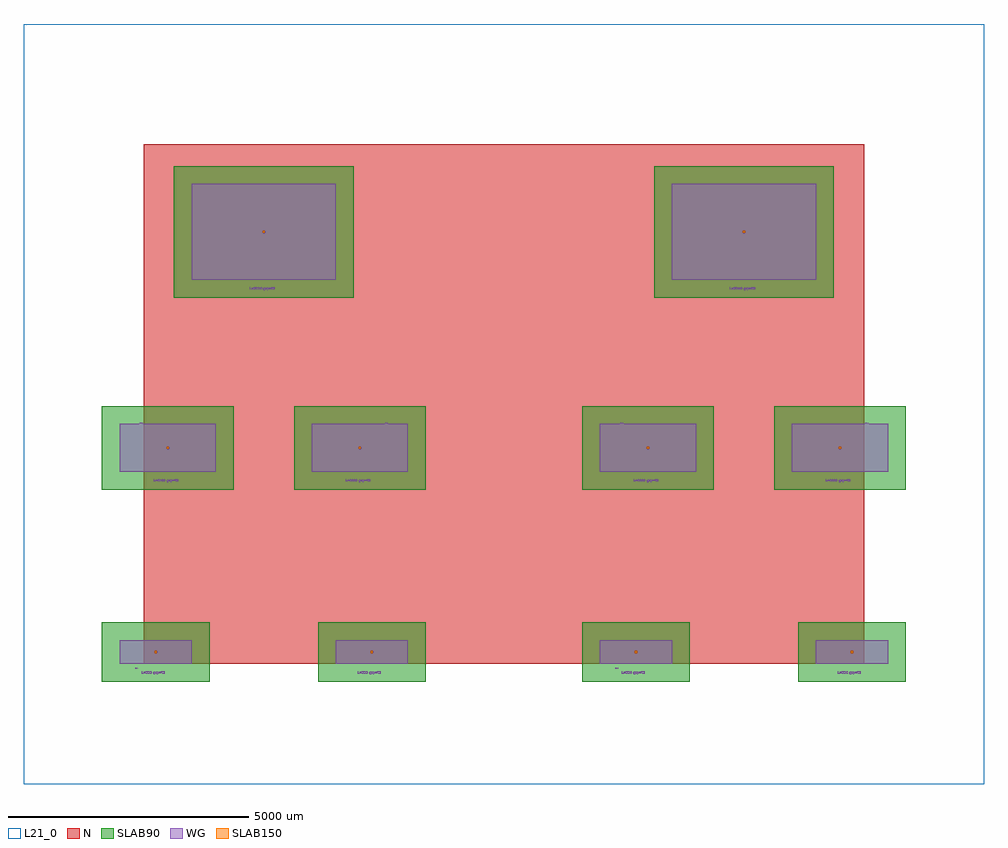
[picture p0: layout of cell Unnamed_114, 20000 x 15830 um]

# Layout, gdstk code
import gdstk
lib = gdstk.Library(unit=1e-6, precision=1e-09)
def R(c, l, rs):  # rectangles x0, y0, x1, y1
    for r in rs: c.add(gdstk.rectangle(r[:2], r[2:], *l))
def A(c, l, x, y, w, h, nx, ny, dx, dy):  # array of equal rectangles
    R(c, l, [(x+i*dx, y+j*dy, x+i*dx+w, y+j*dy+h) for i in range(nx) for j in range(ny)])
def P(c, l, *ps):  # polygons
    for p in ps: c.add(gdstk.Polygon(p, *l))
WG = (1, 0)
SLAB150 = (2, 0)
SLAB90 = (3, 0)
N = (20, 0)
L21_0 = (21, 0)

text_tult_2_s20_p0_0_jle = lib.new_cell('text_TUlt_2_S20_P0_0_Jleft_L1_0')
P(text_tult_2_s20_p0_0_jle, WG, [(34,0),(32,2),(32,12),(28,12),(28,16),(32,16),(32,20),(36,20),(36,16),(40,16),(40,12),(36,12),(36,4),(38,4),(38,0)],
  [(20,0),(18,2),(18,20),(22,20),(22,4),(26,4),(26,0)],
  [(52,0),(52,4),(62,14),(62,16),(56,16),(56,14),(52,14),(52,18),(54,20),(64,20),(66,18),(66,12),(58,4),(66,4),(66,0)],
  [(6,0),(2,4),(2,20),(6,20),(6,6),(8,4),(10,4),(12,6),(12,20),(16,20),(16,4),(12,0)])

unnamed_124 = lib.new_cell('Unnamed_124')
unnamed_124.add(gdstk.Reference(text_tult_2_s20_p0_0_jle, (-185,-100)))
unnamed_124.add(gdstk.Reference(text_tult_2_s20_p0_0_jle, (5020,0)))
unnamed_124.add(gdstk.Reference(text_tult_2_s20_p0_0_jle, (-85,5000)))
unnamed_124.add(gdstk.Reference(text_tult_2_s20_p0_0_jle, (5020,5000)))

text_tult_1_s20_p0_0_jle = lib.new_cell('text_TUlt_1_S20_P0_0_Jleft_L1_0')
P(text_tult_1_s20_p0_0_jle, WG, [(52,0),(52,4),(54,4),(54,12),(52,12),(52,16),(56,20),(58,20),(58,4),(60,4),(60,0)],
  [(34,0),(32,2),(32,12),(28,12),(28,16),(32,16),(32,20),(36,20),(36,16),(40,16),(40,12),(36,12),(36,4),(38,4),(38,0)],
  [(20,0),(18,2),(18,20),(22,20),(22,4),(26,4),(26,0)],
  [(6,0),(2,4),(2,20),(6,20),(6,6),(8,4),(10,4),(12,6),(12,20),(16,20),(16,4),(12,0)])

unnamed_123 = lib.new_cell('Unnamed_123')
unnamed_123.add(gdstk.Reference(text_tult_1_s20_p0_0_jle, (-185,-100)))
unnamed_123.add(gdstk.Reference(text_tult_1_s20_p0_0_jle, (5020,0)))
unnamed_123.add(gdstk.Reference(text_tult_1_s20_p0_0_jle, (-85,5000)))
unnamed_123.add(gdstk.Reference(text_tult_1_s20_p0_0_jle, (5020,5000)))

unnamed_122 = lib.new_cell('Unnamed_122')
unnamed_122.add(gdstk.Reference(unnamed_124, (10000,0)))
unnamed_122.add(gdstk.Reference(unnamed_123, (0,0)))

rectangle_s20000_15830__ = lib.new_cell('rectangle_S20000_15830__41eada1f')
R(rectangle_s20000_15830__, L21_0, [(0,0,20000,15830)])

unnamed_130 = lib.new_cell('Unnamed_130')
R(unnamed_130, SLAB90, [(-873.72,-371.72,1371.72,869.72), (3626.28,-371.72,5871.72,869.72), (9126.28,-371.72,11371.72,869.72), (13626.28,-371.72,15871.72,869.72), (-873.72,3630.28,1871.72,5371.72), (3126.28,3630.28,5871.72,5371.72), (9126.28,3630.28,11871.72,5371.72), (13126.28,3630.28,15871.72,5371.72), (626.28,7628.28,4371.72,10369.72), (10626.28,7628.28,14371.72,10369.72)])

unnamed_127 = lib.new_cell('Unnamed_127')
R(unnamed_127, WG, [(-502,0,-2,498), (500,0,1000,498), (3998,0,4498,498), (5000,0,5500,498), (9498,0,9998,498), (10500,0,11000,498), (13998,0,14498,498), (15000,0,15500,498), (-502,4002,-2,5000), (1000,4002,1500,5000), (3498,4002,3998,5000), (5000,4002,5500,5000), (9498,4002,9998,5000), (11000,4002,11500,5000), (13498,4002,13998,5000), (15000,4002,15500,5000), (998,8000,1498,9998), (3500,8000,4000,9998), (10998,8000,11498,9998), (13500,8000,14000,9998)])

unnamed_129 = lib.new_cell('Unnamed_129')
R(unnamed_129, SLAB150, [(227,227,271,271), (4727,227,4771,271), (10227,227,10271,271), (14727,227,14771,271), (477,4479,521,4523), (4477,4479,4521,4523), (10477,4479,10521,4523), (14477,4479,14521,4523), (2477,8977,2521,9021), (12477,8977,12521,9021)])

rectangle_s15000_10830__ = lib.new_cell('rectangle_S15000_10830__cd2686a7')
R(rectangle_s15000_10830__, N, [(0,0,15000,10830)])

unnamed_128 = lib.new_cell('Unnamed_128')
A(unnamed_128, WG, 0, 0, 48, 48, 10, 4, 50, 50)
A(unnamed_128, WG, 4500, 0, 48, 48, 10, 4, 50, 50)
A(unnamed_128, WG, 10000, 0, 48, 48, 10, 4, 50, 50)
A(unnamed_128, WG, 14500, 0, 48, 48, 10, 4, 50, 50)
A(unnamed_128, WG, 0, 200, 48, 48, 4, 2, 50, 50)
A(unnamed_128, WG, 300, 200, 48, 48, 4, 2, 50, 50)
A(unnamed_128, WG, 4500, 200, 48, 48, 4, 2, 50, 50)
A(unnamed_128, WG, 4800, 200, 48, 48, 4, 2, 50, 50)
A(unnamed_128, WG, 10000, 200, 48, 48, 4, 2, 50, 50)
A(unnamed_128, WG, 10300, 200, 48, 48, 4, 2, 50, 50)
A(unnamed_128, WG, 14500, 200, 48, 48, 4, 2, 50, 50)
A(unnamed_128, WG, 14800, 200, 48, 48, 4, 2, 50, 50)
A(unnamed_128, WG, 0, 300, 48, 48, 10, 4, 50, 50)
A(unnamed_128, WG, 4500, 300, 48, 48, 10, 4, 50, 50)
A(unnamed_128, WG, 10000, 300, 48, 48, 10, 4, 50, 50)
A(unnamed_128, WG, 14500, 300, 48, 48, 10, 4, 50, 50)
A(unnamed_128, WG, 0, 4002, 48, 48, 20, 9, 50, 50)
A(unnamed_128, WG, 4000, 4002, 48, 48, 20, 9, 50, 50)
A(unnamed_128, WG, 10000, 4002, 48, 48, 20, 9, 50, 50)
A(unnamed_128, WG, 14000, 4002, 48, 48, 20, 9, 50, 50)
A(unnamed_128, WG, 0, 4452, 48, 48, 9, 2, 50, 50)
A(unnamed_128, WG, 550, 4452, 48, 48, 9, 2, 50, 50)
A(unnamed_128, WG, 4000, 4452, 48, 48, 9, 2, 50, 50)
A(unnamed_128, WG, 4550, 4452, 48, 48, 9, 2, 50, 50)
A(unnamed_128, WG, 10000, 4452, 48, 48, 9, 2, 50, 50)
A(unnamed_128, WG, 10550, 4452, 48, 48, 9, 2, 50, 50)
A(unnamed_128, WG, 14000, 4452, 48, 48, 9, 2, 50, 50)
A(unnamed_128, WG, 14550, 4452, 48, 48, 9, 2, 50, 50)
A(unnamed_128, WG, 0, 4552, 48, 48, 20, 9, 50, 50)
A(unnamed_128, WG, 4000, 4552, 48, 48, 20, 9, 50, 50)
A(unnamed_128, WG, 10000, 4552, 48, 48, 20, 9, 50, 50)
A(unnamed_128, WG, 14000, 4552, 48, 48, 20, 9, 50, 50)
A(unnamed_128, WG, 1500, 8000, 48, 48, 40, 19, 50, 50)
A(unnamed_128, WG, 11500, 8000, 48, 48, 40, 19, 50, 50)
A(unnamed_128, WG, 1500, 8950, 48, 48, 19, 2, 50, 50)
A(unnamed_128, WG, 2550, 8950, 48, 48, 19, 2, 50, 50)
A(unnamed_128, WG, 11500, 8950, 48, 48, 19, 2, 50, 50)
A(unnamed_128, WG, 12550, 8950, 48, 48, 19, 2, 50, 50)
A(unnamed_128, WG, 1500, 9050, 48, 48, 40, 19, 50, 50)
A(unnamed_128, WG, 11500, 9050, 48, 48, 40, 19, 50, 50)
P(unnamed_128, WG, [(500,4452),(500,4476),(524,4476),(524,4500),(548,4500),(548,4452)],
  [(4500,4452),(4500,4476),(4524,4476),(4524,4500),(4548,4500),(4548,4452)],
  [(10500,4452),(10500,4476),(10524,4476),(10524,4500),(10548,4500),(10548,4452)],
  [(14500,4452),(14500,4476),(14524,4476),(14524,4500),(14548,4500),(14548,4452)],
  [(250,200),(250,224),(274,224),(274,248),(298,248),(298,200)],
  [(4750,200),(4750,224),(4774,224),(4774,248),(4798,248),(4798,200)],
  [(10250,200),(10250,224),(10274,224),(10274,248),(10298,248),(10298,200)],
  [(14750,200),(14750,224),(14774,224),(14774,248),(14798,248),(14798,200)],
  [(2500,8950),(2500,8974),(2524,8974),(2524,8998),(2548,8998),(2548,8950)],
  [(12500,8950),(12500,8974),(12524,8974),(12524,8998),(12548,8998),(12548,8950)],
  [(450,4452),(450,4500),(474,4500),(474,4476),(498,4476),(498,4452)],
  [(4450,4452),(4450,4500),(4474,4500),(4474,4476),(4498,4476),(4498,4452)],
  [(10450,4452),(10450,4500),(10474,4500),(10474,4476),(10498,4476),(10498,4452)],
  [(14450,4452),(14450,4500),(14474,4500),(14474,4476),(14498,4476),(14498,4452)],
  [(200,200),(200,248),(224,248),(224,224),(248,224),(248,200)],
  [(4700,200),(4700,248),(4724,248),(4724,224),(4748,224),(4748,200)],
  [(10200,200),(10200,248),(10224,248),(10224,224),(10248,224),(10248,200)],
  [(14700,200),(14700,248),(14724,248),(14724,224),(14748,224),(14748,200)],
  [(2450,8950),(2450,8998),(2474,8998),(2474,8974),(2498,8974),(2498,8950)],
  [(12450,8950),(12450,8998),(12474,8998),(12474,8974),(12498,8974),(12498,8950)],
  [(524,4502),(524,4526),(500,4526),(500,4550),(548,4550),(548,4502)],
  [(4524,4502),(4524,4526),(4500,4526),(4500,4550),(4548,4550),(4548,4502)],
  [(10524,4502),(10524,4526),(10500,4526),(10500,4550),(10548,4550),(10548,4502)],
  [(14524,4502),(14524,4526),(14500,4526),(14500,4550),(14548,4550),(14548,4502)],
  [(274,250),(274,274),(250,274),(250,298),(298,298),(298,250)],
  [(4774,250),(4774,274),(4750,274),(4750,298),(4798,298),(4798,250)],
  [(10274,250),(10274,274),(10250,274),(10250,298),(10298,298),(10298,250)],
  [(14774,250),(14774,274),(14750,274),(14750,298),(14798,298),(14798,250)],
  [(2524,9000),(2524,9024),(2500,9024),(2500,9048),(2548,9048),(2548,9000)],
  [(12524,9000),(12524,9024),(12500,9024),(12500,9048),(12548,9048),(12548,9000)],
  [(450,4502),(450,4550),(498,4550),(498,4526),(474,4526),(474,4502)],
  [(4450,4502),(4450,4550),(4498,4550),(4498,4526),(4474,4526),(4474,4502)],
  [(10450,4502),(10450,4550),(10498,4550),(10498,4526),(10474,4526),(10474,4502)],
  [(14450,4502),(14450,4550),(14498,4550),(14498,4526),(14474,4526),(14474,4502)],
  [(200,250),(200,298),(248,298),(248,274),(224,274),(224,250)],
  [(4700,250),(4700,298),(4748,298),(4748,274),(4724,274),(4724,250)],
  [(10200,250),(10200,298),(10248,298),(10248,274),(10224,274),(10224,250)],
  [(14700,250),(14700,298),(14748,298),(14748,274),(14724,274),(14724,250)],
  [(2450,9000),(2450,9048),(2498,9048),(2498,9024),(2474,9024),(2474,9000)],
  [(12450,9000),(12450,9048),(12498,9048),(12498,9024),(12474,9024),(12474,9000)])

unnamed_131 = lib.new_cell('Unnamed_131')
R(unnamed_131, WG, [(-5,-190,35,-180), (315,-190,355,-180), (4495,-190,4535,-180), (4815,-190,4855,-180), (9995,-190,10035,-180), (10315,-190,10355,-180), (14495,-190,14535,-180), (14815,-190,14855,-180), (-5,-170,35,-160), (315,-170,355,-160), (4495,-170,4535,-160), (4815,-170,4855,-160), (9995,-170,10035,-160), (10315,-170,10355,-160), (14495,-170,14535,-160), (14815,-170,14855,-160), (245,3812,285,3822), (595,3812,635,3822), (4245,3812,4285,3822), (4595,3812,4635,3822), (10245,3812,10285,3822), (10595,3812,10635,3822), (14245,3812,14285,3822), (14595,3812,14635,3822), (245,3832,285,3842), (595,3832,635,3842), (4245,3832,4285,3842), (4595,3832,4635,3842), (10245,3832,10285,3842), (10595,3832,10635,3842), (14245,3832,14285,3842), (14595,3832,14635,3842), (2245,7810,2285,7820), (2610,7810,2650,7820), (12245,7810,12285,7820), (12610,7810,12650,7820), (2245,7830,2285,7840), (2610,7830,2650,7840), (12245,7830,12285,7840), (12610,7830,12650,7840)])
P(unnamed_131, WG, [(45,-200),(40,-195),(40,-185),(50,-185),(50,-190),(65,-190),(65,-180),(45,-180),(40,-175),(40,-150),(75,-150),(75,-160),(50,-160),(50,-170),(70,-170),(75,-175),(75,-195),(70,-200)],
  [(4545,-200),(4540,-195),(4540,-185),(4550,-185),(4550,-190),(4565,-190),(4565,-180),(4545,-180),(4540,-175),(4540,-150),(4575,-150),(4575,-160),(4550,-160),(4550,-170),(4570,-170),(4575,-175),(4575,-195),(4570,-200)],
  [(10045,-200),(10040,-195),(10040,-185),(10050,-185),(10050,-190),(10065,-190),(10065,-180),(10045,-180),(10040,-175),(10040,-150),(10075,-150),(10075,-160),(10050,-160),(10050,-170),(10070,-170),(10075,-175),(10075,-195),(10070,-200)],
  [(14545,-200),(14540,-195),(14540,-185),(14550,-185),(14550,-190),(14565,-190),(14565,-180),(14545,-180),(14540,-175),(14540,-150),(14575,-150),(14575,-160),(14550,-160),(14550,-170),(14570,-170),(14575,-175),(14575,-195),(14570,-200)],
  [(2290,7800),(2290,7810),(2315,7835),(2315,7840),(2300,7840),(2300,7835),(2290,7835),(2290,7845),(2295,7850),(2320,7850),(2325,7845),(2325,7830),(2305,7810),(2325,7810),(2325,7800)],
  [(12290,7800),(12290,7810),(12315,7835),(12315,7840),(12300,7840),(12300,7835),(12290,7835),(12290,7845),(12295,7850),(12320,7850),(12325,7845),(12325,7830),(12305,7810),(12325,7810),(12325,7800)],
  [(525,3802),(515,3812),(515,3827),(526.7,3837),(540,3837),(540,3840.75),(550,3840.75),(550,3822),(540,3822),(540,3827),(530,3827),(525,3822),(525,3817),(530,3812),(540,3812),(540,3817),(550,3817),(550,3802)],
  [(4525,3802),(4515,3812),(4515,3827),(4526.7,3837),(4540,3837),(4540,3840.75),(4550,3840.75),(4550,3822),(4540,3822),(4540,3827),(4530,3827),(4525,3822),(4525,3817),(4530,3812),(4540,3812),(4540,3817),(4550,3817),(4550,3802)],
  [(10525,3802),(10515,3812),(10515,3827),(10526.7,3837),(10540,3837),(10540,3840.75),(10550,3840.75),(10550,3822),(10540,3822),(10540,3827),(10530,3827),(10525,3822),(10525,3817),(10530,3812),(10540,3812),(10540,3817),(10550,3817),(10550,3802)],
  [(14525,3802),(14515,3812),(14515,3827),(14526.7,3837),(14540,3837),(14540,3840.75),(14550,3840.75),(14550,3822),(14540,3822),(14540,3827),(14530,3827),(14525,3822),(14525,3817),(14530,3812),(14540,3812),(14540,3817),(14550,3817),(14550,3802)],
  [(245,-200),(235,-190),(235,-175),(246.7,-165),(260,-165),(260,-161.25),(270,-161.25),(270,-180),(260,-180),(260,-175),(250,-175),(245,-180),(245,-185),(250,-190),(260,-190),(260,-185),(270,-185),(270,-200)],
  [(4745,-200),(4735,-190),(4735,-175),(4746.7,-165),(4760,-165),(4760,-161.25),(4770,-161.25),(4770,-180),(4760,-180),(4760,-175),(4750,-175),(4745,-180),(4745,-185),(4750,-190),(4760,-190),(4760,-185),(4770,-185),(4770,-200)],
  [(10245,-200),(10235,-190),(10235,-175),(10246.7,-165),(10260,-165),(10260,-161.25),(10270,-161.25),(10270,-180),(10260,-180),(10260,-175),(10250,-175),(10245,-180),(10245,-185),(10250,-190),(10260,-190),(10260,-185),(10270,-185),(10270,-200)],
  [(14745,-200),(14735,-190),(14735,-175),(14746.7,-165),(14760,-165),(14760,-161.25),(14770,-161.25),(14770,-180),(14760,-180),(14760,-175),(14750,-175),(14745,-180),(14745,-185),(14750,-190),(14760,-190),(14760,-185),(14770,-185),(14770,-200)],
  [(2540,7800),(2530,7810),(2530,7825),(2541.7,7835),(2555,7835),(2555,7838.75),(2565,7838.75),(2565,7820),(2555,7820),(2555,7825),(2545,7825),(2540,7820),(2540,7815),(2545,7810),(2555,7810),(2555,7815),(2565,7815),(2565,7800)],
  [(12540,7800),(12530,7810),(12530,7825),(12541.7,7835),(12555,7835),(12555,7838.75),(12565,7838.75),(12565,7820),(12555,7820),(12555,7825),(12545,7825),(12540,7820),(12540,7815),(12545,7810),(12555,7810),(12555,7815),(12565,7815),(12565,7800)],
  [(485,3787),(475,3797),(500,3797),(500,3802),(486.7,3802),(475,3812),(475,3827),(485,3837),(510,3837),(510,3822),(500,3822),(500,3827),(490,3827),(485,3822),(485,3817),(490,3812),(500,3812),(500,3817),(510,3817),(510,3792),(505,3787)],
  [(4485,3787),(4475,3797),(4500,3797),(4500,3802),(4486.7,3802),(4475,3812),(4475,3827),(4485,3837),(4510,3837),(4510,3822),(4500,3822),(4500,3827),(4490,3827),(4485,3822),(4485,3817),(4490,3812),(4500,3812),(4500,3817),(4510,3817),(4510,3792),(4505,3787)],
  [(10485,3787),(10475,3797),(10500,3797),(10500,3802),(10486.7,3802),(10475,3812),(10475,3827),(10485,3837),(10510,3837),(10510,3822),(10500,3822),(10500,3827),(10490,3827),(10485,3822),(10485,3817),(10490,3812),(10500,3812),(10500,3817),(10510,3817),(10510,3792),(10505,3787)],
  [(14485,3787),(14475,3797),(14500,3797),(14500,3802),(14486.7,3802),(14475,3812),(14475,3827),(14485,3837),(14510,3837),(14510,3822),(14500,3822),(14500,3827),(14490,3827),(14485,3822),(14485,3817),(14490,3812),(14500,3812),(14500,3817),(14510,3817),(14510,3792),(14505,3787)],
  [(205,-215),(195,-205),(220,-205),(220,-200),(206.7,-200),(195,-190),(195,-175),(205,-165),(230,-165),(230,-180),(220,-180),(220,-175),(210,-175),(205,-180),(205,-185),(210,-190),(220,-190),(220,-185),(230,-185),(230,-210),(225,-215)],
  [(4705,-215),(4695,-205),(4720,-205),(4720,-200),(4706.7,-200),(4695,-190),(4695,-175),(4705,-165),(4730,-165),(4730,-180),(4720,-180),(4720,-175),(4710,-175),(4705,-180),(4705,-185),(4710,-190),(4720,-190),(4720,-185),(4730,-185),(4730,-210),(4725,-215)],
  [(10205,-215),(10195,-205),(10220,-205),(10220,-200),(10206.7,-200),(10195,-190),(10195,-175),(10205,-165),(10230,-165),(10230,-180),(10220,-180),(10220,-175),(10210,-175),(10205,-180),(10205,-185),(10210,-190),(10220,-190),(10220,-185),(10230,-185),(10230,-210),(10225,-215)],
  [(14705,-215),(14695,-205),(14720,-205),(14720,-200),(14706.7,-200),(14695,-190),(14695,-175),(14705,-165),(14730,-165),(14730,-180),(14720,-180),(14720,-175),(14710,-175),(14705,-180),(14705,-185),(14710,-190),(14720,-190),(14720,-185),(14730,-185),(14730,-210),(14725,-215)],
  [(2500,7785),(2490,7795),(2515,7795),(2515,7800),(2501.7,7800),(2490,7810),(2490,7825),(2500,7835),(2525,7835),(2525,7820),(2515,7820),(2515,7825),(2505,7825),(2500,7820),(2500,7815),(2505,7810),(2515,7810),(2515,7815),(2525,7815),(2525,7790),(2520,7785)],
  [(12500,7785),(12490,7795),(12515,7795),(12515,7800),(12501.7,7800),(12490,7810),(12490,7825),(12500,7835),(12525,7835),(12525,7820),(12515,7820),(12515,7825),(12505,7825),(12500,7820),(12500,7815),(12505,7810),(12515,7810),(12515,7815),(12525,7815),(12525,7790),(12520,7785)],
  [(685,3802),(680,3807),(680,3822),(685,3827),(680,3832),(680,3847),(685,3852),(695,3852),(695,3842),(690,3842),(690,3832),(705,3832),(705,3842),(700,3842),(700,3852),(710,3852),(715,3847),(715,3832),(710,3827),(715,3822),(715,3807),(710,3802),(700,3802),(700,3812),(705,3812),(705,3822),(690,3822),(690,3812),(695,3812),(695,3802)],
  [(4685,3802),(4680,3807),(4680,3822),(4685,3827),(4680,3832),(4680,3847),(4685,3852),(4695,3852),(4695,3842),(4690,3842),(4690,3832),(4705,3832),(4705,3842),(4700,3842),(4700,3852),(4710,3852),(4715,3847),(4715,3832),(4710,3827),(4715,3822),(4715,3807),(4710,3802),(4700,3802),(4700,3812),(4705,3812),(4705,3822),(4690,3822),(4690,3812),(4695,3812),(4695,3802)],
  [(10685,3802),(10680,3807),(10680,3822),(10685,3827),(10680,3832),(10680,3847),(10685,3852),(10695,3852),(10695,3842),(10690,3842),(10690,3832),(10705,3832),(10705,3842),(10700,3842),(10700,3852),(10710,3852),(10715,3847),(10715,3832),(10710,3827),(10715,3822),(10715,3807),(10710,3802),(10700,3802),(10700,3812),(10705,3812),(10705,3822),(10690,3822),(10690,3812),(10695,3812),(10695,3802)],
  [(14685,3802),(14680,3807),(14680,3822),(14685,3827),(14680,3832),(14680,3847),(14685,3852),(14695,3852),(14695,3842),(14690,3842),(14690,3832),(14705,3832),(14705,3842),(14700,3842),(14700,3852),(14710,3852),(14715,3847),(14715,3832),(14710,3827),(14715,3822),(14715,3807),(14710,3802),(14700,3802),(14700,3812),(14705,3812),(14705,3822),(14690,3822),(14690,3812),(14695,3812),(14695,3802)],
  [(405,-200),(400,-195),(400,-180),(405,-175),(400,-170),(400,-155),(405,-150),(415,-150),(415,-160),(410,-160),(410,-170),(425,-170),(425,-160),(420,-160),(420,-150),(430,-150),(435,-155),(435,-170),(430,-175),(435,-180),(435,-195),(430,-200),(420,-200),(420,-190),(425,-190),(425,-180),(410,-180),(410,-190),(415,-190),(415,-200)],
  [(4905,-200),(4900,-195),(4900,-180),(4905,-175),(4900,-170),(4900,-155),(4905,-150),(4915,-150),(4915,-160),(4910,-160),(4910,-170),(4925,-170),(4925,-160),(4920,-160),(4920,-150),(4930,-150),(4935,-155),(4935,-170),(4930,-175),(4935,-180),(4935,-195),(4930,-200),(4920,-200),(4920,-190),(4925,-190),(4925,-180),(4910,-180),(4910,-190),(4915,-190),(4915,-200)],
  [(10405,-200),(10400,-195),(10400,-180),(10405,-175),(10400,-170),(10400,-155),(10405,-150),(10415,-150),(10415,-160),(10410,-160),(10410,-170),(10425,-170),(10425,-160),(10420,-160),(10420,-150),(10430,-150),(10435,-155),(10435,-170),(10430,-175),(10435,-180),(10435,-195),(10430,-200),(10420,-200),(10420,-190),(10425,-190),(10425,-180),(10410,-180),(10410,-190),(10415,-190),(10415,-200)],
  [(14905,-200),(14900,-195),(14900,-180),(14905,-175),(14900,-170),(14900,-155),(14905,-150),(14915,-150),(14915,-160),(14910,-160),(14910,-170),(14925,-170),(14925,-160),(14920,-160),(14920,-150),(14930,-150),(14935,-155),(14935,-170),(14930,-175),(14935,-180),(14935,-195),(14930,-200),(14920,-200),(14920,-190),(14925,-190),(14925,-180),(14910,-180),(14910,-190),(14915,-190),(14915,-200)],
  [(2700,7800),(2695,7805),(2695,7820),(2700,7825),(2695,7830),(2695,7845),(2700,7850),(2710,7850),(2710,7840),(2705,7840),(2705,7830),(2720,7830),(2720,7840),(2715,7840),(2715,7850),(2725,7850),(2730,7845),(2730,7830),(2725,7825),(2730,7820),(2730,7805),(2725,7800),(2715,7800),(2715,7810),(2720,7810),(2720,7820),(2705,7820),(2705,7810),(2710,7810),(2710,7800)],
  [(12700,7800),(12695,7805),(12695,7820),(12700,7825),(12695,7830),(12695,7845),(12700,7850),(12710,7850),(12710,7840),(12705,7840),(12705,7830),(12720,7830),(12720,7840),(12715,7840),(12715,7850),(12725,7850),(12730,7845),(12730,7830),(12725,7825),(12730,7820),(12730,7805),(12725,7800),(12715,7800),(12715,7810),(12720,7810),(12720,7820),(12705,7820),(12705,7810),(12710,7810),(12710,7800)],
  [(98.5,-200),(101,-190),(105,-190),(110,-185),(110,-165),(105,-160),(107.5,-150),(110,-150),(120,-160),(120,-190),(110,-200)],
  [(143.5,-200),(146,-190),(150,-190),(155,-185),(155,-165),(150,-160),(152.5,-150),(155,-150),(165,-160),(165,-190),(155,-200)],
  [(4598.5,-200),(4601,-190),(4605,-190),(4610,-185),(4610,-165),(4605,-160),(4607.5,-150),(4610,-150),(4620,-160),(4620,-190),(4610,-200)],
  [(4643.5,-200),(4646,-190),(4650,-190),(4655,-185),(4655,-165),(4650,-160),(4652.5,-150),(4655,-150),(4665,-160),(4665,-190),(4655,-200)],
  [(10098.5,-200),(10101,-190),(10105,-190),(10110,-185),(10110,-165),(10105,-160),(10107.5,-150),(10110,-150),(10120,-160),(10120,-190),(10110,-200)],
  [(10143.5,-200),(10146,-190),(10150,-190),(10155,-185),(10155,-165),(10150,-160),(10152.5,-150),(10155,-150),(10165,-160),(10165,-190),(10155,-200)],
  [(14598.5,-200),(14601,-190),(14605,-190),(14610,-185),(14610,-165),(14605,-160),(14607.5,-150),(14610,-150),(14620,-160),(14620,-190),(14610,-200)],
  [(14643.5,-200),(14646,-190),(14650,-190),(14655,-185),(14655,-165),(14650,-160),(14652.5,-150),(14655,-150),(14665,-160),(14665,-190),(14655,-200)],
  [(333.5,3802),(336,3812),(340,3812),(345,3817),(345,3837),(340,3842),(342.5,3852),(345,3852),(355,3842),(355,3812),(345,3802)],
  [(378.5,3802),(381,3812),(385,3812),(390,3817),(390,3837),(385,3842),(387.5,3852),(390,3852),(400,3842),(400,3812),(390,3802)],
  [(423.5,3802),(426,3812),(430,3812),(435,3817),(435,3837),(430,3842),(432.5,3852),(435,3852),(445,3842),(445,3812),(435,3802)],
  [(4333.5,3802),(4336,3812),(4340,3812),(4345,3817),(4345,3837),(4340,3842),(4342.5,3852),(4345,3852),(4355,3842),(4355,3812),(4345,3802)],
  [(4378.5,3802),(4381,3812),(4385,3812),(4390,3817),(4390,3837),(4385,3842),(4387.5,3852),(4390,3852),(4400,3842),(4400,3812),(4390,3802)],
  [(4423.5,3802),(4426,3812),(4430,3812),(4435,3817),(4435,3837),(4430,3842),(4432.5,3852),(4435,3852),(4445,3842),(4445,3812),(4435,3802)],
  [(10333.5,3802),(10336,3812),(10340,3812),(10345,3817),(10345,3837),(10340,3842),(10342.5,3852),(10345,3852),(10355,3842),(10355,3812),(10345,3802)],
  [(10378.5,3802),(10381,3812),(10385,3812),(10390,3817),(10390,3837),(10385,3842),(10387.5,3852),(10390,3852),(10400,3842),(10400,3812),(10390,3802)],
  [(10423.5,3802),(10426,3812),(10430,3812),(10435,3817),(10435,3837),(10430,3842),(10432.5,3852),(10435,3852),(10445,3842),(10445,3812),(10435,3802)],
  [(14333.5,3802),(14336,3812),(14340,3812),(14345,3817),(14345,3837),(14340,3842),(14342.5,3852),(14345,3852),(14355,3842),(14355,3812),(14345,3802)],
  [(14378.5,3802),(14381,3812),(14385,3812),(14390,3817),(14390,3837),(14385,3842),(14387.5,3852),(14390,3852),(14400,3842),(14400,3812),(14390,3802)],
  [(14423.5,3802),(14426,3812),(14430,3812),(14435,3817),(14435,3837),(14430,3842),(14432.5,3852),(14435,3852),(14445,3842),(14445,3812),(14435,3802)],
  [(2348.5,7800),(2351,7810),(2355,7810),(2360,7815),(2360,7835),(2355,7840),(2357.5,7850),(2360,7850),(2370,7840),(2370,7810),(2360,7800)],
  [(2393.5,7800),(2396,7810),(2400,7810),(2405,7815),(2405,7835),(2400,7840),(2402.5,7850),(2405,7850),(2415,7840),(2415,7810),(2405,7800)],
  [(2438.5,7800),(2441,7810),(2445,7810),(2450,7815),(2450,7835),(2445,7840),(2447.5,7850),(2450,7850),(2460,7840),(2460,7810),(2450,7800)],
  [(12348.5,7800),(12351,7810),(12355,7810),(12360,7815),(12360,7835),(12355,7840),(12357.5,7850),(12360,7850),(12370,7840),(12370,7810),(12360,7800)],
  [(12393.5,7800),(12396,7810),(12400,7810),(12405,7815),(12405,7835),(12400,7840),(12402.5,7850),(12405,7850),(12415,7840),(12415,7810),(12405,7800)],
  [(12438.5,7800),(12441,7810),(12445,7810),(12450,7815),(12450,7835),(12445,7840),(12447.5,7850),(12450,7850),(12460,7840),(12460,7810),(12450,7800)],
  [(660,3802),(660,3817),(640,3817),(640,3852),(650,3852),(650,3827),(660,3827),(660,3852),(670,3852),(670,3827),(675,3827),(675,3817),(670,3817),(670,3802)],
  [(4660,3802),(4660,3817),(4640,3817),(4640,3852),(4650,3852),(4650,3827),(4660,3827),(4660,3852),(4670,3852),(4670,3827),(4675,3827),(4675,3817),(4670,3817),(4670,3802)],
  [(10660,3802),(10660,3817),(10640,3817),(10640,3852),(10650,3852),(10650,3827),(10660,3827),(10660,3852),(10670,3852),(10670,3827),(10675,3827),(10675,3817),(10670,3817),(10670,3802)],
  [(14660,3802),(14660,3817),(14640,3817),(14640,3852),(14650,3852),(14650,3827),(14660,3827),(14660,3852),(14670,3852),(14670,3827),(14675,3827),(14675,3817),(14670,3817),(14670,3802)],
  [(380,-200),(380,-185),(360,-185),(360,-150),(370,-150),(370,-175),(380,-175),(380,-150),(390,-150),(390,-175),(395,-175),(395,-185),(390,-185),(390,-200)],
  [(4880,-200),(4880,-185),(4860,-185),(4860,-150),(4870,-150),(4870,-175),(4880,-175),(4880,-150),(4890,-150),(4890,-175),(4895,-175),(4895,-185),(4890,-185),(4890,-200)],
  [(10380,-200),(10380,-185),(10360,-185),(10360,-150),(10370,-150),(10370,-175),(10380,-175),(10380,-150),(10390,-150),(10390,-175),(10395,-175),(10395,-185),(10390,-185),(10390,-200)],
  [(14880,-200),(14880,-185),(14860,-185),(14860,-150),(14870,-150),(14870,-175),(14880,-175),(14880,-150),(14890,-150),(14890,-175),(14895,-175),(14895,-185),(14890,-185),(14890,-200)],
  [(2675,7800),(2675,7815),(2655,7815),(2655,7850),(2665,7850),(2665,7825),(2675,7825),(2675,7850),(2685,7850),(2685,7825),(2690,7825),(2690,7815),(2685,7815),(2685,7800)],
  [(12675,7800),(12675,7815),(12655,7815),(12655,7850),(12665,7850),(12665,7825),(12675,7825),(12675,7850),(12685,7850),(12685,7825),(12690,7825),(12690,7815),(12685,7815),(12685,7800)],
  [(555,3787),(555,3817),(565,3817),(565,3812),(575,3812),(580,3817),(580,3822),(575,3827),(565,3827),(565,3822),(555,3822),(555,3837),(580,3837),(590,3827),(590,3812),(580,3802),(565,3802),(565,3787)],
  [(4555,3787),(4555,3817),(4565,3817),(4565,3812),(4575,3812),(4580,3817),(4580,3822),(4575,3827),(4565,3827),(4565,3822),(4555,3822),(4555,3837),(4580,3837),(4590,3827),(4590,3812),(4580,3802),(4565,3802),(4565,3787)],
  [(10555,3787),(10555,3817),(10565,3817),(10565,3812),(10575,3812),(10580,3817),(10580,3822),(10575,3827),(10565,3827),(10565,3822),(10555,3822),(10555,3837),(10580,3837),(10590,3827),(10590,3812),(10580,3802),(10565,3802),(10565,3787)],
  [(14555,3787),(14555,3817),(14565,3817),(14565,3812),(14575,3812),(14580,3817),(14580,3822),(14575,3827),(14565,3827),(14565,3822),(14555,3822),(14555,3837),(14580,3837),(14590,3827),(14590,3812),(14580,3802),(14565,3802),(14565,3787)],
  [(275,-215),(275,-185),(285,-185),(285,-190),(295,-190),(300,-185),(300,-180),(295,-175),(285,-175),(285,-180),(275,-180),(275,-165),(300,-165),(310,-175),(310,-190),(300,-200),(285,-200),(285,-215)],
  [(4775,-215),(4775,-185),(4785,-185),(4785,-190),(4795,-190),(4800,-185),(4800,-180),(4795,-175),(4785,-175),(4785,-180),(4775,-180),(4775,-165),(4800,-165),(4810,-175),(4810,-190),(4800,-200),(4785,-200),(4785,-215)],
  [(10275,-215),(10275,-185),(10285,-185),(10285,-190),(10295,-190),(10300,-185),(10300,-180),(10295,-175),(10285,-175),(10285,-180),(10275,-180),(10275,-165),(10300,-165),(10310,-175),(10310,-190),(10300,-200),(10285,-200),(10285,-215)],
  [(14775,-215),(14775,-185),(14785,-185),(14785,-190),(14795,-190),(14800,-185),(14800,-180),(14795,-175),(14785,-175),(14785,-180),(14775,-180),(14775,-165),(14800,-165),(14810,-175),(14810,-190),(14800,-200),(14785,-200),(14785,-215)],
  [(2570,7785),(2570,7815),(2580,7815),(2580,7810),(2590,7810),(2595,7815),(2595,7820),(2590,7825),(2580,7825),(2580,7820),(2570,7820),(2570,7835),(2595,7835),(2605,7825),(2605,7810),(2595,7800),(2580,7800),(2580,7785)],
  [(12570,7785),(12570,7815),(12580,7815),(12580,7810),(12590,7810),(12595,7815),(12595,7820),(12590,7825),(12580,7825),(12580,7820),(12570,7820),(12570,7835),(12595,7835),(12605,7825),(12605,7810),(12595,7800),(12580,7800),(12580,7785)],
  [(205,3802),(205,3852),(215,3852),(215,3812),(240,3812),(240,3802)],
  [(4205,3802),(4205,3852),(4215,3852),(4215,3812),(4240,3812),(4240,3802)],
  [(10205,3802),(10205,3852),(10215,3852),(10215,3812),(10240,3812),(10240,3802)],
  [(14205,3802),(14205,3852),(14215,3852),(14215,3812),(14240,3812),(14240,3802)],
  [(-45,-200),(-45,-150),(-35,-150),(-35,-190),(-10,-190),(-10,-200)],
  [(4455,-200),(4455,-150),(4465,-150),(4465,-190),(4490,-190),(4490,-200)],
  [(9955,-200),(9955,-150),(9965,-150),(9965,-190),(9990,-190),(9990,-200)],
  [(14455,-200),(14455,-150),(14465,-150),(14465,-190),(14490,-190),(14490,-200)],
  [(2205,7800),(2205,7850),(2215,7850),(2215,7810),(2240,7810),(2240,7800)],
  [(12205,7800),(12205,7850),(12215,7850),(12215,7810),(12240,7810),(12240,7800)],
  [(290,3802),(290,3812),(295,3812),(295,3832),(290,3832),(290,3842),(300,3852),(305,3852),(305,3812),(310,3812),(310,3802)],
  [(4290,3802),(4290,3812),(4295,3812),(4295,3832),(4290,3832),(4290,3842),(4300,3852),(4305,3852),(4305,3812),(4310,3812),(4310,3802)],
  [(10290,3802),(10290,3812),(10295,3812),(10295,3832),(10290,3832),(10290,3842),(10300,3852),(10305,3852),(10305,3812),(10310,3812),(10310,3802)],
  [(14290,3802),(14290,3812),(14295,3812),(14295,3832),(14290,3832),(14290,3842),(14300,3852),(14305,3852),(14305,3812),(14310,3812),(14310,3802)],
  [(90,-200),(80,-190),(80,-160),(90,-150),(101.5,-150),(99,-160),(95,-160),(90,-165),(90,-185),(95,-190),(92.5,-200)],
  [(135,-200),(125,-190),(125,-160),(135,-150),(146.5,-150),(144,-160),(140,-160),(135,-165),(135,-185),(140,-190),(137.5,-200)],
  [(4590,-200),(4580,-190),(4580,-160),(4590,-150),(4601.5,-150),(4599,-160),(4595,-160),(4590,-165),(4590,-185),(4595,-190),(4592.5,-200)],
  [(4635,-200),(4625,-190),(4625,-160),(4635,-150),(4646.5,-150),(4644,-160),(4640,-160),(4635,-165),(4635,-185),(4640,-190),(4637.5,-200)],
  [(10090,-200),(10080,-190),(10080,-160),(10090,-150),(10101.5,-150),(10099,-160),(10095,-160),(10090,-165),(10090,-185),(10095,-190),(10092.5,-200)],
  [(10135,-200),(10125,-190),(10125,-160),(10135,-150),(10146.5,-150),(10144,-160),(10140,-160),(10135,-165),(10135,-185),(10140,-190),(10137.5,-200)],
  [(14590,-200),(14580,-190),(14580,-160),(14590,-150),(14601.5,-150),(14599,-160),(14595,-160),(14590,-165),(14590,-185),(14595,-190),(14592.5,-200)],
  [(14635,-200),(14625,-190),(14625,-160),(14635,-150),(14646.5,-150),(14644,-160),(14640,-160),(14635,-165),(14635,-185),(14640,-190),(14637.5,-200)],
  [(325,3802),(315,3812),(315,3842),(325,3852),(336.5,3852),(334,3842),(330,3842),(325,3837),(325,3817),(330,3812),(327.5,3802)],
  [(370,3802),(360,3812),(360,3842),(370,3852),(381.5,3852),(379,3842),(375,3842),(370,3837),(370,3817),(375,3812),(372.5,3802)],
  [(415,3802),(405,3812),(405,3842),(415,3852),(426.5,3852),(424,3842),(420,3842),(415,3837),(415,3817),(420,3812),(417.5,3802)],
  [(4325,3802),(4315,3812),(4315,3842),(4325,3852),(4336.5,3852),(4334,3842),(4330,3842),(4325,3837),(4325,3817),(4330,3812),(4327.5,3802)],
  [(4370,3802),(4360,3812),(4360,3842),(4370,3852),(4381.5,3852),(4379,3842),(4375,3842),(4370,3837),(4370,3817),(4375,3812),(4372.5,3802)],
  [(4415,3802),(4405,3812),(4405,3842),(4415,3852),(4426.5,3852),(4424,3842),(4420,3842),(4415,3837),(4415,3817),(4420,3812),(4417.5,3802)],
  [(10325,3802),(10315,3812),(10315,3842),(10325,3852),(10336.5,3852),(10334,3842),(10330,3842),(10325,3837),(10325,3817),(10330,3812),(10327.5,3802)],
  [(10370,3802),(10360,3812),(10360,3842),(10370,3852),(10381.5,3852),(10379,3842),(10375,3842),(10370,3837),(10370,3817),(10375,3812),(10372.5,3802)],
  [(10415,3802),(10405,3812),(10405,3842),(10415,3852),(10426.5,3852),(10424,3842),(10420,3842),(10415,3837),(10415,3817),(10420,3812),(10417.5,3802)],
  [(14325,3802),(14315,3812),(14315,3842),(14325,3852),(14336.5,3852),(14334,3842),(14330,3842),(14325,3837),(14325,3817),(14330,3812),(14327.5,3802)],
  [(14370,3802),(14360,3812),(14360,3842),(14370,3852),(14381.5,3852),(14379,3842),(14375,3842),(14370,3837),(14370,3817),(14375,3812),(14372.5,3802)],
  [(14415,3802),(14405,3812),(14405,3842),(14415,3852),(14426.5,3852),(14424,3842),(14420,3842),(14415,3837),(14415,3817),(14420,3812),(14417.5,3802)],
  [(2340,7800),(2330,7810),(2330,7840),(2340,7850),(2351.5,7850),(2349,7840),(2345,7840),(2340,7835),(2340,7815),(2345,7810),(2342.5,7800)],
  [(2385,7800),(2375,7810),(2375,7840),(2385,7850),(2396.5,7850),(2394,7840),(2390,7840),(2385,7835),(2385,7815),(2390,7810),(2387.5,7800)],
  [(2430,7800),(2420,7810),(2420,7840),(2430,7850),(2441.5,7850),(2439,7840),(2435,7840),(2430,7835),(2430,7815),(2435,7810),(2432.5,7800)],
  [(12340,7800),(12330,7810),(12330,7840),(12340,7850),(12351.5,7850),(12349,7840),(12345,7840),(12340,7835),(12340,7815),(12345,7810),(12342.5,7800)],
  [(12385,7800),(12375,7810),(12375,7840),(12385,7850),(12396.5,7850),(12394,7840),(12390,7840),(12385,7835),(12385,7815),(12390,7810),(12387.5,7800)],
  [(12430,7800),(12420,7810),(12420,7840),(12430,7850),(12441.5,7850),(12439,7840),(12435,7840),(12430,7835),(12430,7815),(12435,7810),(12432.5,7800)])

unnamed_114 = lib.new_cell('Unnamed_114')
unnamed_114.add(gdstk.Reference(unnamed_122, (0,0)))
unnamed_114.add(gdstk.Reference(rectangle_s20000_15830__, (-2500,-2500)))
unnamed_114.add(gdstk.Reference(unnamed_130, (0,0)))
unnamed_114.add(gdstk.Reference(unnamed_127, (0,0)))
unnamed_114.add(gdstk.Reference(unnamed_129, (0,0)))
unnamed_114.add(gdstk.Reference(rectangle_s15000_10830__, (0,0)))
unnamed_114.add(gdstk.Reference(unnamed_128, (0,0)))
unnamed_114.add(gdstk.Reference(unnamed_131, (0,0)))

lib.write_gds('Unnamed_114.gds')
